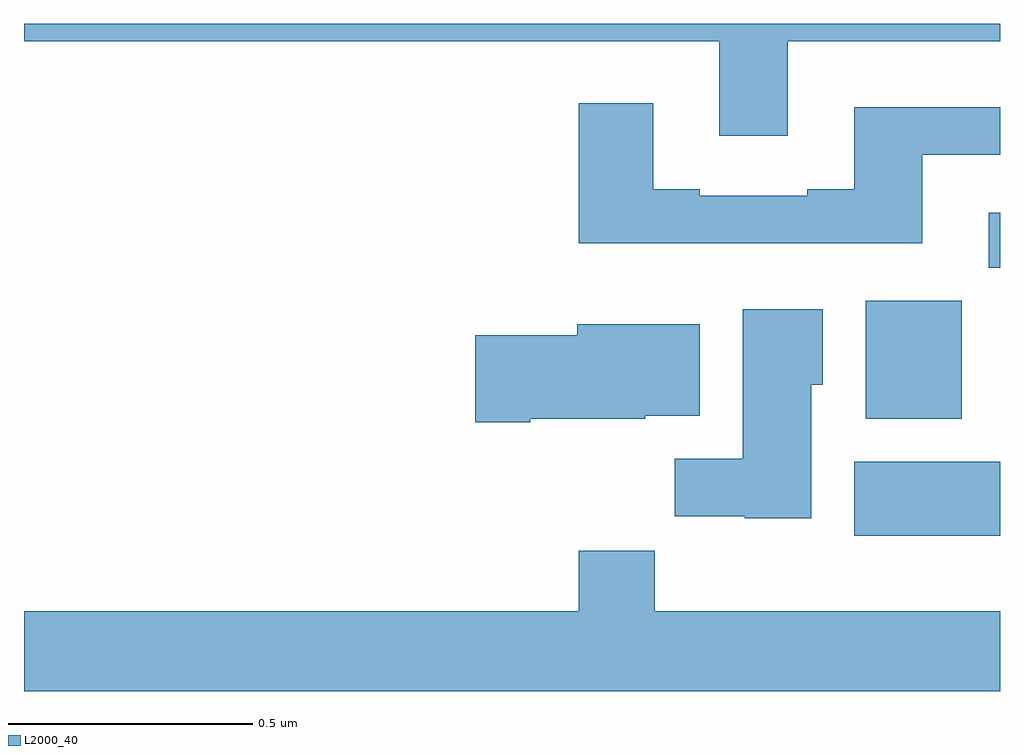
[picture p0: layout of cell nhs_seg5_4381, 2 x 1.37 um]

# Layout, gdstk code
import gdstk
lib = gdstk.Library(unit=1e-6, precision=1e-09)
def R(c, l, rs):  # rectangles x0, y0, x1, y1
    for r in rs: c.add(gdstk.rectangle(r[:2], r[2:], *l))
def P(c, l, *ps):  # polygons
    for p in ps: c.add(gdstk.Polygon(p, *l))
L2000_40 = (2000, 40)

nhs_seg5_4381 = lib.new_cell('nhs_seg5_4381')
R(nhs_seg5_4381, L2000_40, [(171.701,851.75,172,851.902), (171.725,851.99,171.922,852.232), (171.977,852.299,172,852.412)])
P(nhs_seg5_4381, L2000_40, [(171.565,852.764),(172,852.764),(172,852.799),(170,852.799),(170,852.764),(171.425,852.764),(171.425,852.57),(171.565,852.57)],
  [(171.841,852.531),(172,852.531),(172,852.628),(171.701,852.628),(171.701,852.46),(171.605,852.46),(171.605,852.447),(171.385,852.447),(171.385,852.46),(171.289,852.46),(171.289,852.637),(171.137,852.637),(171.137,852.35),(171.841,852.35)],
  [(171.613,852.06),(171.637,852.06),(171.637,852.214),(171.473,852.214),(171.473,851.908),(171.334,851.908),(171.334,851.79),(171.477,851.79),(171.477,851.786),(171.613,851.786)],
  [(171.037,851.99),(171.273,851.99),(171.273,851.996),(171.385,851.996),(171.385,852.184),(171.134,852.184),(171.134,852.161),(170.925,852.161),(170.925,851.983),(171.037,851.983)],
  [(172,851.596),(171.293,851.596),(171.293,851.72),(171.137,851.72),(171.137,851.596),(170,851.596),(170,851.432),(172,851.432)])

lib.write_gds('nhs_seg5_4381.gds')
